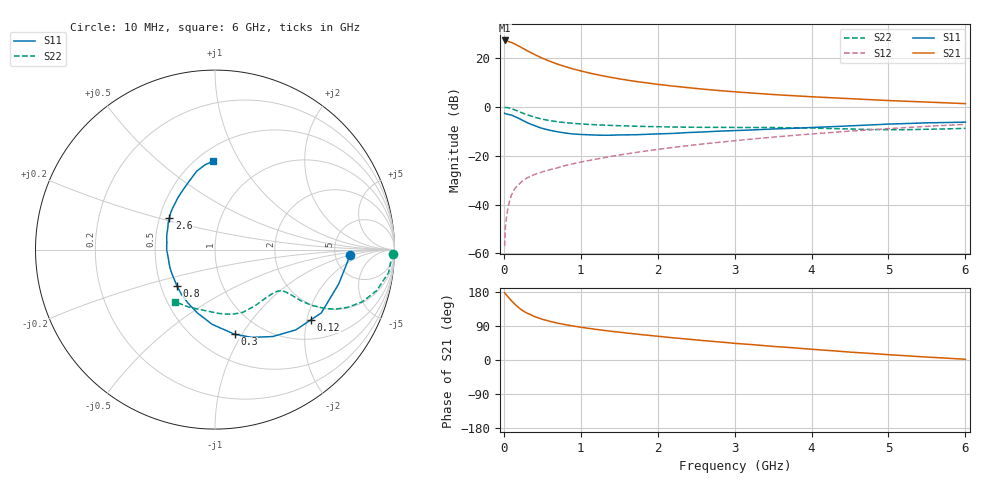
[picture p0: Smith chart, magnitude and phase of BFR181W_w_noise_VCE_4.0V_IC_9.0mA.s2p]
! (c) 2017  Infineon Technologies AG, Munich
! Infineon Technologies  Discrete & RF Semiconductors
! BFR181W
! VCE =  4.0 V,  IC =  9.0 mA
! Common Emitter S-Parameters:  Jan 2017
# GHz  S  MA  R  50
!  f  S11  S21  S12  S22
! GHz  MAG  ANG  MAG  ANG  MAG  ANG  MAG  ANG
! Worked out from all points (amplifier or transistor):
!   77 points, 10 MHz to 6 GHz, reference 50 ohm
!   highest |S21| = 27.4 dB at 10 MHz (marker M1)
!   |S21| within 3 dB of that: start of sweep to 234.5 MHz
!   unconditionally stable (mu >= 1): 1.051 GHz to 3.024 GHz
!   at 130 MHz: K = 0.25, MSG = 30.1 dB, |S12| = -34.2 dB
!   at 2.2 GHz: K = 1.06, MAG = 11.1 dB, |S12| = -16.6 dB
!   at 6 GHz: K = 0.85, MSG = 4.2 dB, |S12| = -7.1 dB
!   lowest NFmin = 1.18 dB at 450 MHz
!   S11 on the Smith chart (normalised r, x): 10 MHz: 6.93, -1.01; 120 MHz: 1.52, -2.12; 300 MHz: 0.75, -0.93; 800 MHz: 0.61, -0.27; 2.6 GHz: 0.56, +0.22; 6 GHz: 0.60, +0.78
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0.01  0.7524 -2.4  23.35 178.0  0.0014 94.8  0.9938 -1.4
0.02  0.7334 -7.6  22.98 174.8  0.0034 97.3  0.9837 -2.8
0.05  0.715 -15.6  22.56 167.6  0.0079 80.0  0.976 -7.5
0.1  0.6893 -30.8  21.21 156.0  0.0158 77.8  0.9295 -14.2
0.12  0.6628 -36.1  20.47 152.2  0.0183 74.4  0.9045 -16.3
0.15  0.6348 -44.8  19.55 145.9  0.0221 70.8  0.8695 -19.6
0.2  0.5816 -56.4  17.7 137.0  0.0263 67.5  0.8065 -23.5
0.25  0.5299 -67.3  16.04 129.7  0.0317 63.7  0.7489 -26.3
0.3  0.4839 -77.0  14.46 123.7  0.035 61.5  0.6975 -28.1
0.4  0.4168 -92.2  12 114.4  0.0414 60.6  0.6203 -30.0
0.5  0.3664 -105.5  10.1 107.5  0.0469 60.4  0.5657 -30.7
0.6  0.3338 -116.8  8.704 101.9  0.0521 60.5  0.5278 -30.8
0.7  0.3117 -126.8  7.614 97.3  0.0569 62.0  0.5006 -30.7
0.8  0.2936 -136.1  6.776 93.2  0.0633 63.1  0.4799 -30.7
1.1  0.2707 -157.7  5.071 83.7  0.0798 64.7  0.4427 -31.4
1.5  0.2688 -179.2  3.81 73.5  0.104 66.4  0.4151 -34.2
2.1  0.2851 158.5  2.818 60.7  0.1422 66.0  0.3933 -42.1
2.6  0.3096 145.2  2.33 51.1  0.1761 64.6  0.3852 -50.6
3.1  0.3343 133.5  2.011 42.5  0.2118 62.2  0.3819 -59.4
4.1  0.3873 115.4  1.603 26.9  0.2889 55.9  0.3687 -77.4
5.1  0.4535 101.8  1.345 12.8  0.37 47.6  0.3439 -103.0
6  0.4921 91.1  1.18 1.9  0.4435 39.1  0.3673 -127.9
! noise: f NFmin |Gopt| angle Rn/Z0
0.45  1.18  0.17  16  0.21
0.9  1.23  0.16  31  0.21
1.9  1.65  0.05  107  0.2
2.4  1.82  0.03  116  0.23
